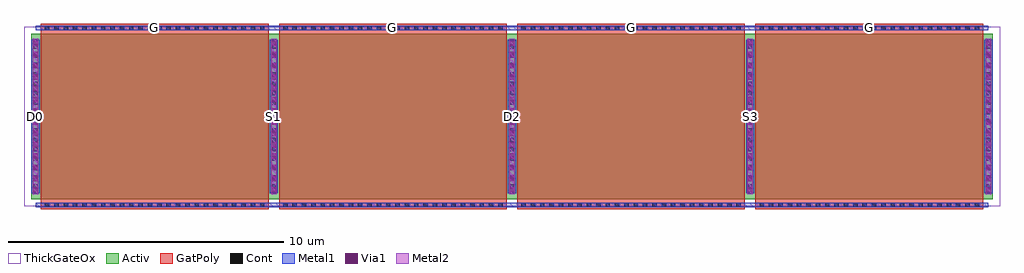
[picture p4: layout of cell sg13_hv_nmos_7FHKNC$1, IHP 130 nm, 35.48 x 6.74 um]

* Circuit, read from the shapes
.subckt sg13_hv_nmos_7FHKNC$1 D0 D2 G S1 S3
XM1 S1 G D0 VSUBS sg13_hv_nmos w=6u l=8.28u
XM2 D2 G S1 VSUBS sg13_hv_nmos w=6u l=8.28u
XM3 S3 G D2 VSUBS sg13_hv_nmos w=6u l=8.28u
XM4 n1 G S3 VSUBS sg13_hv_nmos w=6u l=8.28u
.ends

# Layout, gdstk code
import gdstk
lib = gdstk.Library(unit=1e-6, precision=1e-09)
def R(c, l, rs):  # rectangles x0, y0, x1, y1
    for r in rs: c.add(gdstk.rectangle(r[:2], r[2:], *l))
def A(c, l, x, y, w, h, nx, ny, dx, dy):  # array of equal rectangles
    R(c, l, [(x+i*dx, y+j*dy, x+i*dx+w, y+j*dy+h) for i in range(nx) for j in range(ny)])
Activ = (1, 0)
GatPoly = (5, 0)
Cont = (6, 0)
Metal1 = (8, 0)
Metal2 = (10, 0)
Via1 = (19, 0)
ThickGateOx = (44, 0)

sg13_hv_nmos_7fhknc_1 = lib.new_cell('sg13_hv_nmos_7FHKNC$1')
R(sg13_hv_nmos_7fhknc_1, Activ, [(-17.47,-3,17.47,3)])
A(sg13_hv_nmos_7fhknc_1, GatPoly, -17.13, -3.37, 8.28, 6.74, 4, 1, 8.66, 0)
A(sg13_hv_nmos_7fhknc_1, Cont, -16.98, -3.3, 0.16, 0.16, 24, 2, 0.34, 6.44)
A(sg13_hv_nmos_7fhknc_1, Cont, -8.32, -3.3, 0.16, 0.16, 24, 2, 0.34, 6.44)
A(sg13_hv_nmos_7fhknc_1, Cont, 0.34, -3.3, 0.16, 0.16, 24, 2, 0.34, 6.44)
A(sg13_hv_nmos_7fhknc_1, Cont, 9, -3.3, 0.16, 0.16, 24, 2, 0.34, 6.44)
A(sg13_hv_nmos_7fhknc_1, Cont, -17.4, -2.63, 0.16, 0.16, 5, 16, 8.66, 0.34)
A(sg13_hv_nmos_7fhknc_1, Metal1, -17.47, -2.785, 0.3, 5.57, 5, 1, 8.66, 0)
R(sg13_hv_nmos_7fhknc_1, Metal1, [(-17.32,-3.3,17.32,-3.14), (-17.32,3.14,17.32,3.3)])
A(sg13_hv_nmos_7fhknc_1, Metal2, -17.42, -2.825, 0.2, 5.65, 5, 1, 8.66, 0)
A(sg13_hv_nmos_7fhknc_1, Via1, -17.415, -2.76, 0.19, 0.19, 5, 14, 8.66, 0.41)
R(sg13_hv_nmos_7fhknc_1, ThickGateOx, [(-17.74,-3.27,17.74,3.27)])
sg13_hv_nmos_7fhknc_1.add(gdstk.Label('D0', (-17.32,0), layer=8, texttype=25))
sg13_hv_nmos_7fhknc_1.add(gdstk.Label('G', (12.99,3.22), layer=8, texttype=25))
sg13_hv_nmos_7fhknc_1.add(gdstk.Label('G', (4.33,3.22), layer=8, texttype=25))
sg13_hv_nmos_7fhknc_1.add(gdstk.Label('G', (-4.33,3.22), layer=8, texttype=25))
sg13_hv_nmos_7fhknc_1.add(gdstk.Label('G', (-12.99,3.22), layer=8, texttype=25))
sg13_hv_nmos_7fhknc_1.add(gdstk.Label('S1', (-8.66,0), layer=8, texttype=25))
sg13_hv_nmos_7fhknc_1.add(gdstk.Label('D2', (0,0), layer=8, texttype=25))
sg13_hv_nmos_7fhknc_1.add(gdstk.Label('S3', (8.66,0), layer=8, texttype=25))

lib.write_gds('sg13_hv_nmos_7FHKNC_1.gds')
